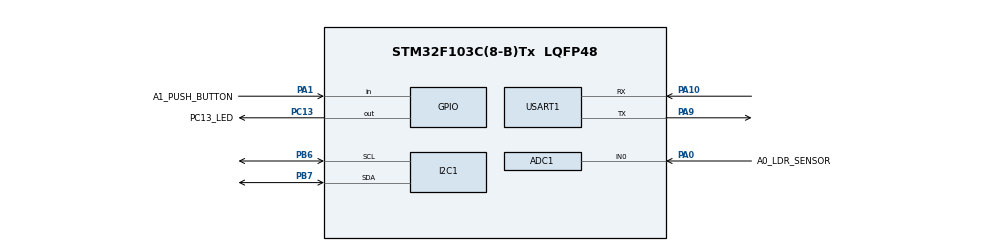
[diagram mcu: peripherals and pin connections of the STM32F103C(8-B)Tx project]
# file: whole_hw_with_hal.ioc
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ADC1.Channel-0\#ChannelRegularConversion=ADC_CHANNEL_0
ADC1.NbrOfConversionFlag=1
ADC1.Rank-0\#ChannelRegularConversion=1
ADC1.SamplingTime-0\#ChannelRegularConversion=ADC_SAMPLETIME_1CYCLE_5
ADC1.master=1
Mcu.Family=STM32F1
Mcu.Name=STM32F103C(8-B)Tx
Mcu.Package=LQFP48
NVIC.PriorityGroup=NVIC_PRIORITYGROUP_4
PA0-WKUP.GPIO_Label=A0_LDR_SENSOR
PA0-WKUP.Signal=ADCx_IN0
PA1.GPIO_Label=A1_PUSH_BUTTON
PA1.GPIO_PuPd=GPIO_PULLUP
PA1.Signal=GPIO_Input
PA10.Mode=Asynchronous
PA10.Signal=USART1_RX
PA13.Mode=Serial_Wire
PA13.Signal=SYS_JTMS-SWDIO
PA14.Mode=Serial_Wire
PA14.Signal=SYS_JTCK-SWCLK
PA9.Mode=Asynchronous
PA9.Signal=USART1_TX
PB6.Mode=I2C
PB6.Signal=I2C1_SCL
PB7.Mode=I2C
PB7.Signal=I2C1_SDA
PC13-TAMPER-RTC.GPIO_Label=PC13_LED
PC13-TAMPER-RTC.Signal=GPIO_Output
PD0-OSC_IN.Mode=HSE-External-Oscillator
PD0-OSC_IN.Signal=RCC_OSC_IN
PD1-OSC_OUT.Mode=HSE-External-Oscillator
PD1-OSC_OUT.Signal=RCC_OSC_OUT
ProjectManager.HeapSize=0x200
ProjectManager.StackSize=0x400
ProjectManager.TargetToolchain=STM32CubeIDE
RCC.APB1Freq_Value=8000000
RCC.APB2Freq_Value=8000000
SH.ADCx_IN0.0=ADC1_IN0,IN0
USART1.VirtualMode=VM_ASYNC
board=custom

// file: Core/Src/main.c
/* USER CODE BEGIN Header */
/**
  ******************************************************************************
  * @file           : main.c
  * @brief          : Main program body
  ******************************************************************************
  * @attention
  *
  * Copyright (c) 2026 STMicroelectronics.
  * All rights reserved.
  *
  * This software is licensed under terms that can be found in the LICENSE file
  * in the root directory of this software component.
  * If no LICENSE file comes with this software, it is provided AS-IS.
  *
  ******************************************************************************
  */
/* USER CODE END Header */
/**
  * @file    main.c
  * @brief   Main program body for whole_hw_with_hal.
  *
  * This file contains the main application loop, peripheral initialization
  * functions, and helper routines used by the SSD1306 OLED display example.
  */
#include "main.h"

/* USER CODE BEGIN Includes */
#include <stdint.h>
#include <stdio.h>
#include <string.h>
#include "ssd1306.h"

/* USER CODE END Includes */

ADC_HandleTypeDef hadc1;

I2C_HandleTypeDef hi2c1;

UART_HandleTypeDef huart1;

void SystemClock_Config(void);
static void MX_GPIO_Init(void);
static void MX_ADC1_Init(void);
static void MX_I2C1_Init(void);
static void MX_USART1_UART_Init(void);
/* USER CODE BEGIN PFP */

#define SYSTEM_CLOCK_HZ       8000000U
#define UART_BAUDRATE         115200U
#define I2C_TIMEOUT_MS        20U
#define LDR_UPDATE_INTERVAL_MS 300U

static GPIO_PinState led_state = GPIO_PIN_SET;
static GPIO_PinState previous_button_state = GPIO_PIN_SET;

static uint16_t LDR_ReadRaw(void);
static void UART1_WriteString(const char *text);
static HAL_StatusTypeDef SSD1306_I2C_Write(uint8_t address, const uint8_t *data, uint16_t length);

/* USER CODE END PFP */

/* USER CODE BEGIN 0 */
/**
  * @brief  Read the raw ADC value from the LDR input channel.
  * @retval 12-bit ADC sample value from ADC1.
  */
static uint16_t LDR_ReadRaw(void)
{
  uint16_t value = 0U;

  if (HAL_ADC_Start(&hadc1) == HAL_OK)
  {
    if (HAL_ADC_PollForConversion(&hadc1, 10U) == HAL_OK)
    {
      value = (uint16_t)HAL_ADC_GetValue(&hadc1);
    }
    HAL_ADC_Stop(&hadc1);
  }

  return value;
}

/**
  * @brief  Transmit a null-terminated string over USART1.
  * @param  text Pointer to ASCII string to send.
  */
static void UART1_WriteString(const char *text)
{
  if (text == NULL)
  {
    return;
  }

  (void)HAL_UART_Transmit(&huart1, (uint8_t *)text, (uint16_t)strlen(text), 100U);
}

/**
  * @brief  Write raw payload to the SSD1306 display via I2C.
  * @param  address 7-bit I2C device address.
  * @param  data Pointer to data buffer.
  * @param  length Number of bytes to transmit.
  * @retval HAL status code.
  */
static HAL_StatusTypeDef SSD1306_I2C_Write(uint8_t address, const uint8_t *data, uint16_t length)
{
  return HAL_I2C_Master_Transmit(&hi2c1, (uint16_t)(address << 1U), (uint8_t *)data, length, I2C_TIMEOUT_MS);
}

/* USER CODE END 0 */

/**
  * @brief  Application entry point.
  * @retval None
  */
int main(void)
{

  /* MCU Configuration--------------------------------------------------------*/

  /* Reset of all peripherals, Initializes the Flash interface and the Systick. */
  HAL_Init();

  /* Configure the system clock */
  SystemClock_Config();

  /* Initialize all configured peripherals */
  MX_GPIO_Init();
  MX_ADC1_Init();
  MX_I2C1_Init();
  MX_USART1_UART_Init();
  /* USER CODE BEGIN 2 */
  (void)SSD1306_Init(SSD1306_I2C_Write);
  UART1_WriteString("System ready\r\n");
  HAL_GPIO_WritePin(PC13_LED_GPIO_Port, PC13_LED_Pin, led_state);
  /* USER CODE END 2 */

  /* Infinite loop */
  /* USER CODE BEGIN WHILE */
  while (1)
  {
    char oled_line[22];
    char uart_line[48];
    uint16_t ldr_raw = LDR_ReadRaw();
    uint32_t ldr_mv = ((uint32_t)ldr_raw * 3300U) / 4095U;
    GPIO_PinState button_state = HAL_GPIO_ReadPin(A1_PUSH_BUTTON_GPIO_Port, A1_PUSH_BUTTON_Pin);

    if ((previous_button_state == GPIO_PIN_SET) && (button_state == GPIO_PIN_RESET))
    {
      led_state = (led_state == GPIO_PIN_SET) ? GPIO_PIN_RESET : GPIO_PIN_SET;
      HAL_GPIO_WritePin(PC13_LED_GPIO_Port, PC13_LED_Pin, led_state);
    }
    previous_button_state = button_state;

    snprintf(uart_line, sizeof(uart_line), "LDR=%u (%lu.%03luV)\r\n",
             ldr_raw,
             ldr_mv / 1000U,
             ldr_mv % 1000U);
    UART1_WriteString(uart_line);

    if (SSD1306_IsReady())
    {
      SSD1306_Clear();

      SSD1306_SetCursor(0U, 0U);
      snprintf(oled_line, sizeof(oled_line), "LDR:%4u", ldr_raw);
      SSD1306_WriteString(oled_line);

      SSD1306_SetCursor(0U, 24U);
      snprintf(oled_line, sizeof(oled_line), "V:%lu.%03lu",
               ldr_mv / 1000U,
               ldr_mv % 1000U);
      SSD1306_WriteString(oled_line);

      if (!SSD1306_UpdateScreen())
      {
        UART1_WriteString("OLED update failed, retrying\r\n");
        (void)SSD1306_Init(SSD1306_I2C_Write);
      }
    }

    HAL_Delay(LDR_UPDATE_INTERVAL_MS);
    /* USER CODE END 3 */
  }

}

/**
  * @brief  Configure the MCU system clock and ADC peripheral clock.
  * @retval None
  */
void SystemClock_Config(void)
{
  RCC_OscInitTypeDef RCC_OscInitStruct = {0};
  RCC_ClkInitTypeDef RCC_ClkInitStruct = {0};
  RCC_PeriphCLKInitTypeDef PeriphClkInit = {0};

  /** Initializes the RCC Oscillators according to the specified parameters
  * in the RCC_OscInitTypeDef structure.
  */
  RCC_OscInitStruct.OscillatorType = RCC_OSCILLATORTYPE_HSI;
  RCC_OscInitStruct.HSIState = RCC_HSI_ON;
  RCC_OscInitStruct.HSICalibrationValue = RCC_HSICALIBRATION_DEFAULT;
  RCC_OscInitStruct.PLL.PLLState = RCC_PLL_NONE;
  if (HAL_RCC_OscConfig(&RCC_OscInitStruct) != HAL_OK)
  {
    Error_Handler();
  }

  /** Initializes the CPU, AHB and APB buses clocks
  */
  RCC_ClkInitStruct.ClockType = RCC_CLOCKTYPE_HCLK|RCC_CLOCKTYPE_SYSCLK
                              |RCC_CLOCKTYPE_PCLK1|RCC_CLOCKTYPE_PCLK2;
  RCC_ClkInitStruct.SYSCLKSource = RCC_SYSCLKSOURCE_HSI;
  RCC_ClkInitStruct.AHBCLKDivider = RCC_SYSCLK_DIV1;
  RCC_ClkInitStruct.APB1CLKDivider = RCC_HCLK_DIV1;
  RCC_ClkInitStruct.APB2CLKDivider = RCC_HCLK_DIV1;

  if (HAL_RCC_ClockConfig(&RCC_ClkInitStruct, FLASH_LATENCY_0) != HAL_OK)
  {
    Error_Handler();
  }
  PeriphClkInit.PeriphClockSelection = RCC_PERIPHCLK_ADC;
  PeriphClkInit.AdcClockSelection = RCC_ADCPCLK2_DIV2;
  if (HAL_RCCEx_PeriphCLKConfig(&PeriphClkInit) != HAL_OK)
  {
    Error_Handler();
  }
}

/**
  * @brief  Initialize ADC1 for LDR sensor measurement.
  * @retval None
  */
static void MX_ADC1_Init(void)
{

  ADC_ChannelConfTypeDef sConfig = {0};

  /** Common config
  */
  hadc1.Instance = ADC1;
  hadc1.Init.ScanConvMode = ADC_SCAN_DISABLE;
  hadc1.Init.ContinuousConvMode = DISABLE;
  hadc1.Init.DiscontinuousConvMode = DISABLE;
  hadc1.Init.ExternalTrigConv = ADC_SOFTWARE_START;
  hadc1.Init.DataAlign = ADC_DATAALIGN_RIGHT;
  hadc1.Init.NbrOfConversion = 1;
  if (HAL_ADC_Init(&hadc1) != HAL_OK)
  {
    Error_Handler();
  }

  /** Configure Regular Channel
  */
  sConfig.Channel = ADC_CHANNEL_0;
  sConfig.Rank = ADC_REGULAR_RANK_1;
  sConfig.SamplingTime = ADC_SAMPLETIME_1CYCLE_5;
  if (HAL_ADC_ConfigChannel(&hadc1, &sConfig) != HAL_OK)
  {
    Error_Handler();
  }

}

/**
  * @brief  Initialize I2C1 for SSD1306 OLED communication.
  * @retval None
  */
static void MX_I2C1_Init(void)
{

  hi2c1.Instance = I2C1;
  hi2c1.Init.ClockSpeed = 100000;
  hi2c1.Init.DutyCycle = I2C_DUTYCYCLE_2;
  hi2c1.Init.OwnAddress1 = 0;
  hi2c1.Init.AddressingMode = I2C_ADDRESSINGMODE_7BIT;
  hi2c1.Init.DualAddressMode = I2C_DUALADDRESS_DISABLE;
  hi2c1.Init.OwnAddress2 = 0;
  hi2c1.Init.GeneralCallMode = I2C_GENERALCALL_DISABLE;
  hi2c1.Init.NoStretchMode = I2C_NOSTRETCH_DISABLE;
  if (HAL_I2C_Init(&hi2c1) != HAL_OK)
  {
    Error_Handler();
  }

}

/**
  * @brief  Initialize USART1 for debug UART output.
  * @retval None
  */
static void MX_USART1_UART_Init(void)
{

  huart1.Instance = USART1;
  huart1.Init.BaudRate = UART_BAUDRATE;
  huart1.Init.WordLength = UART_WORDLENGTH_8B;
  huart1.Init.StopBits = UART_STOPBITS_1;
  huart1.Init.Parity = UART_PARITY_NONE;
  huart1.Init.Mode = UART_MODE_TX_RX;
  huart1.Init.HwFlowCtl = UART_HWCONTROL_NONE;
  huart1.Init.OverSampling = UART_OVERSAMPLING_16;
  if (HAL_UART_Init(&huart1) != HAL_OK)
  {
    Error_Handler();
  }

}

/**
  * @brief  Initialize GPIOs for LED, button, ADC, and I2C pins.
  * @retval None
  */
static void MX_GPIO_Init(void)
{
  GPIO_InitTypeDef GPIO_InitStruct = {0};

  /* GPIO Ports Clock Enable */
  __HAL_RCC_GPIOC_CLK_ENABLE();
  __HAL_RCC_GPIOD_CLK_ENABLE();
  __HAL_RCC_GPIOA_CLK_ENABLE();
  __HAL_RCC_GPIOB_CLK_ENABLE();

  /*Configure GPIO pin Output Level */
  HAL_GPIO_WritePin(PC13_LED_GPIO_Port, PC13_LED_Pin, GPIO_PIN_RESET);

  /*Configure GPIO pin : PC13_LED_Pin */
  GPIO_InitStruct.Pin = PC13_LED_Pin;
  GPIO_InitStruct.Mode = GPIO_MODE_OUTPUT_PP;
  GPIO_InitStruct.Pull = GPIO_NOPULL;
  GPIO_InitStruct.Speed = GPIO_SPEED_FREQ_LOW;
  HAL_GPIO_Init(PC13_LED_GPIO_Port, &GPIO_InitStruct);

  /*Configure GPIO pin : A1_PUSH_BUTTON_Pin */
  GPIO_InitStruct.Pin = A1_PUSH_BUTTON_Pin;
  GPIO_InitStruct.Mode = GPIO_MODE_INPUT;
  GPIO_InitStruct.Pull = GPIO_PULLUP;
  HAL_GPIO_Init(A1_PUSH_BUTTON_GPIO_Port, &GPIO_InitStruct);

}

/**
  * @brief  Error handler used when a fatal HAL error occurs.
  * @retval None
  */
/**
  * @brief  Handle fatal errors from HAL or peripheral initialization.
  * @retval None
  */
void Error_Handler(void)
{
  __disable_irq();
  while (1)
  {
  }
}
